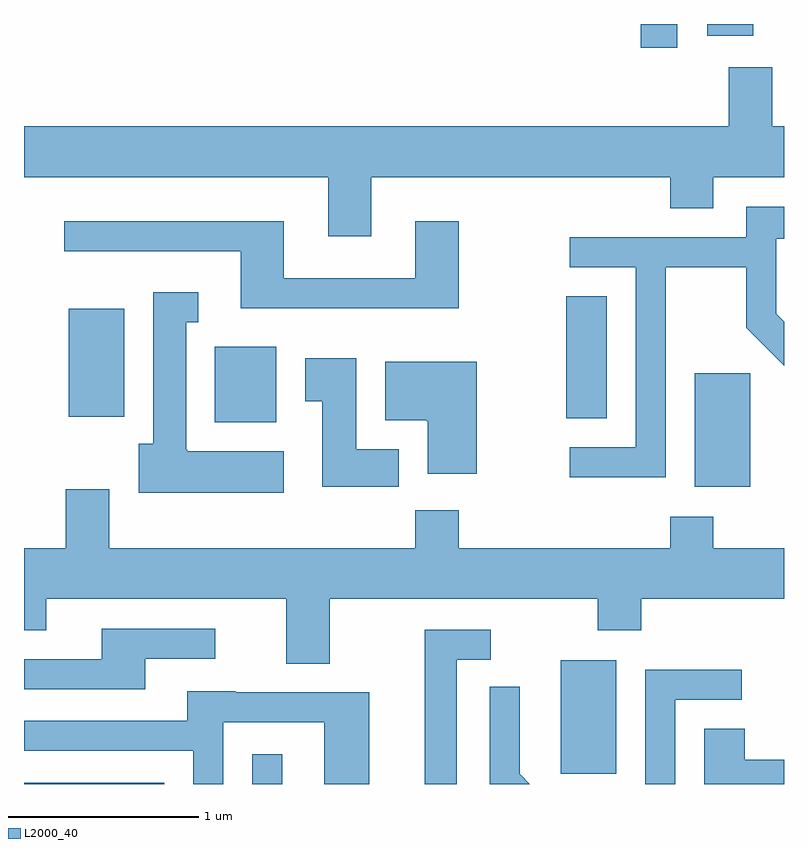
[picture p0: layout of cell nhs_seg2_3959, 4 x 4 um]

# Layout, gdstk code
import gdstk
lib = gdstk.Library(unit=1e-6, precision=1e-09)
def R(c, l, rs):  # rectangles x0, y0, x1, y1
    for r in rs: c.add(gdstk.rectangle(r[:2], r[2:], *l))
def P(c, l, *ps):  # polygons
    for p in ps: c.add(gdstk.Polygon(p, *l))
L2000_40 = (2000, 40)

nhs_seg2_3959 = lib.new_cell('nhs_seg2_3959')
R(nhs_seg2_3959, L2000_40, [(301.611,1031.802,302.349,1031.809), (302.811,1031.802,302.969,1031.958), (304.436,1031.856,304.729,1032.454), (305.141,1033.366,305.434,1033.964), (302.616,1033.706,302.939,1034.104), (304.466,1033.726,304.679,1034.369), (301.846,1033.736,302.139,1034.304), (304.856,1035.676,305.049,1035.802), (305.206,1035.741,305.449,1035.802)])
P(nhs_seg2_3959, L2000_40, [(303.439,1034.996),(305.011,1034.996),(305.011,1034.831),(305.239,1034.831),(305.239,1034.996),(305.611,1034.996),(305.611,1035.264),(305.549,1035.264),(305.549,1035.574),(305.321,1035.574),(305.321,1035.264),(301.611,1035.264),(301.611,1034.996),(303.211,1034.996),(303.211,1034.686),(303.439,1034.686)],
  [(304.989,1034.521),(305.411,1034.521),(305.411,1034.204),(305.611,1034.004),(305.611,1034.235),(305.569,1034.277),(305.569,1034.671),(305.611,1034.671),(305.611,1034.839),(305.411,1034.839),(305.411,1034.679),(304.483,1034.679),(304.483,1034.521),(304.831,1034.521),(304.831,1033.574),(304.483,1033.574),(304.483,1033.416),(304.989,1033.416)],
  [(303.899,1034.764),(303.671,1034.764),(303.671,1034.464),(302.979,1034.464),(302.979,1034.764),(301.823,1034.764),(301.823,1034.606),(302.751,1034.606),(302.751,1034.306),(303.899,1034.306)],
  [(302.979,1033.554),(302.47,1033.554),(302.47,1033.56),(302.464,1033.56),(302.464,1034.231),(302.528,1034.231),(302.528,1034.389),(302.291,1034.389),(302.291,1033.594),(302.216,1033.594),(302.216,1033.336),(302.979,1033.336)],
  [(303.584,1033.564),(303.359,1033.564),(303.359,1034.044),(303.091,1034.044),(303.091,1033.816),(303.181,1033.816),(303.181,1033.366),(303.584,1033.366)],
  [(303.994,1034.024),(303.511,1034.024),(303.511,1033.716),(303.73,1033.716),(303.73,1033.71),(303.736,1033.71),(303.736,1033.436),(303.994,1033.436)],
  [(303.219,1032.776),(304.631,1032.776),(304.631,1032.611),(304.859,1032.611),(304.859,1032.776),(305.611,1032.776),(305.611,1033.044),(305.239,1033.044),(305.239,1033.209),(305.011,1033.209),(305.011,1033.044),(303.899,1033.044),(303.899,1033.244),(303.671,1033.244),(303.671,1033.044),(302.059,1033.044),(302.059,1033.354),(301.831,1033.354),(301.831,1033.044),(301.611,1033.044),(301.611,1032.611),(301.729,1032.611),(301.729,1032.776),(302.991,1032.776),(302.991,1032.436),(303.219,1032.436)],
  [(302.249,1032.461),(302.618,1032.461),(302.618,1032.619),(302.021,1032.619),(302.021,1032.459),(301.611,1032.459),(301.611,1032.301),(302.249,1032.301)],
  [(303.889,1032.456),(304.068,1032.456),(304.068,1032.614),(303.721,1032.614),(303.721,1031.802),(303.889,1031.802)],
  [(305.039,1032.246),(305.388,1032.246),(305.388,1032.404),(304.881,1032.404),(304.881,1031.802),(305.039,1031.802)],
  [(304.219,1031.857),(304.219,1032.313),(304.061,1032.313),(304.061,1031.802),(304.274,1031.802)],
  [(302.659,1032.126),(303.191,1032.126),(303.191,1031.802),(303.429,1031.802),(303.429,1032.284),(302.725,1032.284),(302.725,1032.289),(302.471,1032.289),(302.471,1032.134),(301.611,1032.134),(301.611,1031.976),(302.501,1031.976),(302.501,1031.802),(302.659,1031.802)],
  [(305.611,1031.929),(305.404,1031.929),(305.404,1032.094),(305.191,1032.094),(305.191,1031.802),(305.611,1031.802)])

lib.write_gds('nhs_seg2_3959.gds')
